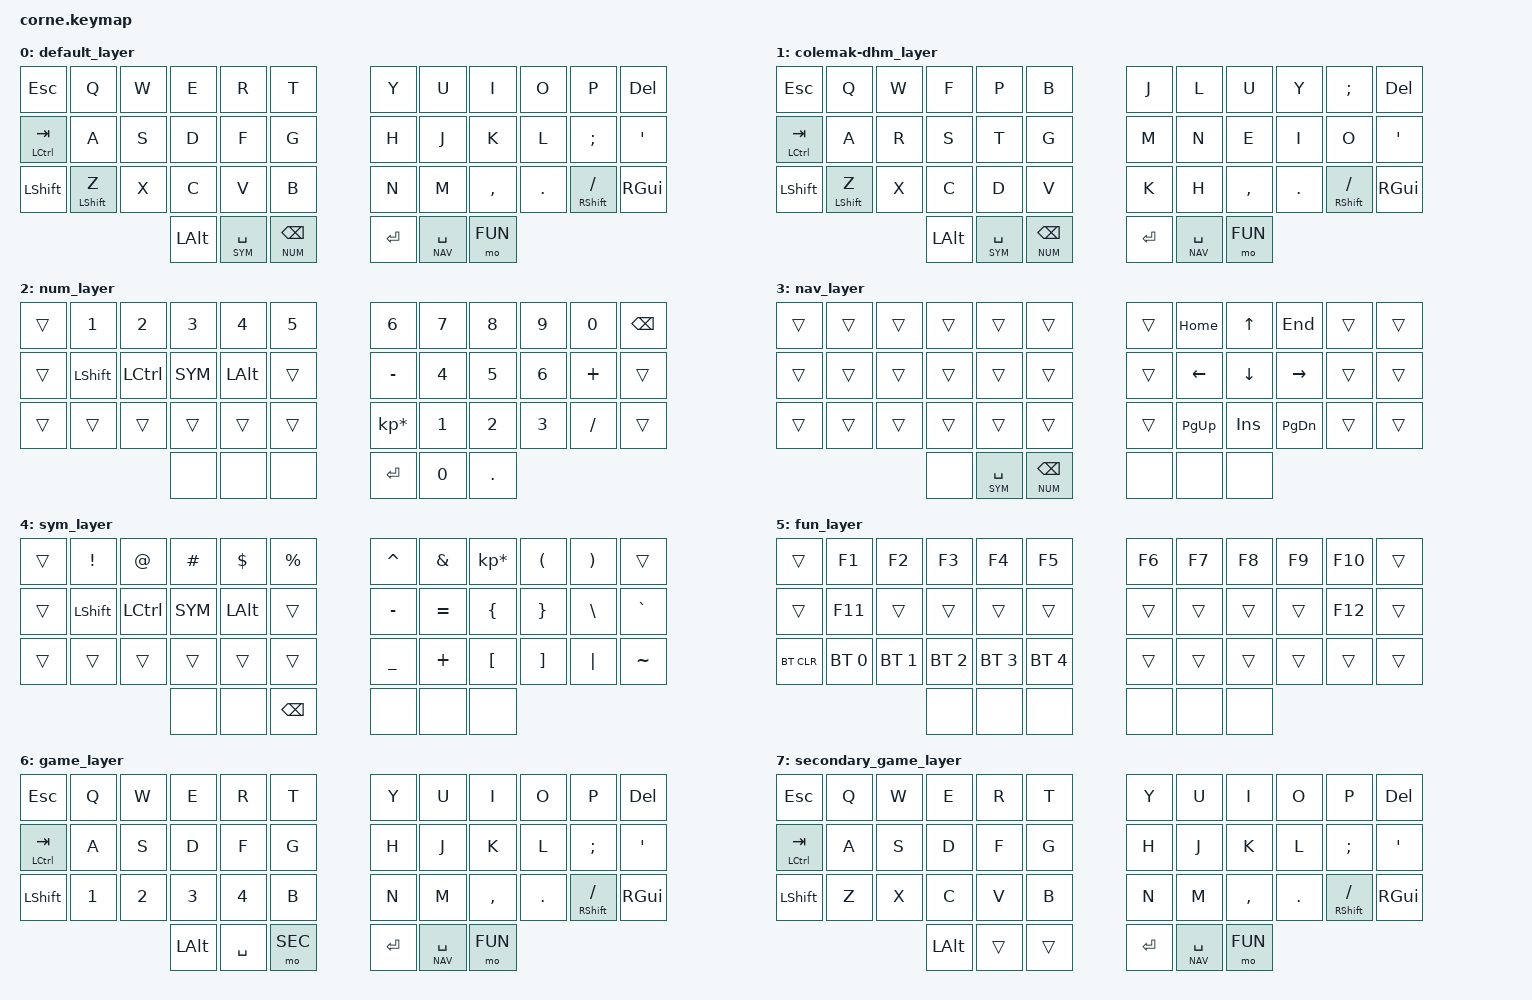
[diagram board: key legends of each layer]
/*
 * Copyright (c) 2020 The ZMK Contributors
 *
 * SPDX-License-Identifier: MIT
 */

#include <behaviors.dtsi>
#include <dt-bindings/zmk/keys.h>
#include <dt-bindings/zmk/bt.h>
#include <dt-bindings/zmk/mouse.h>

#define DEFAULT 0
#define COL   1
#define NUM   2
#define NAV   3
#define SYM   4
#define FUN   5
#define GME   6
#define SEC   7

&lt {
        quick-tap-ms = <200>;
};

/ {
    combos {
        compatible = "zmk,combos";
        combo_esc {
            timeout-ms = <50>;
            key-positions = <10 11>;
            bindings = <&tog COL>;
        };
        combo_game {
            timeout-ms = <50>;
            key-positions = <0 1>;
            bindings = <&tog GME>;
        };
    };
};


/ {
        keymap {
                compatible = "zmk,keymap";

                default_layer {
// -----------------------------------------------------------------------------------------
// |  ESC     |  Q  |  W  |  E  |  R  |  T  |   |  Y  |  U   |  I  |  O  |  P  | DEL  |
// | CTRL TAB |  A  |  S  |  D  |  F  |  G  |   |  H  |  J   |  K  |  L  |  ;  |  '   |
// | SHIFT    |  Z  |  X  |  C  |  V  |  B  |   |  N  |  M   |  ,  |  .  |  /  | WIN  |
//                    | ALT | SPC | BKSP |   | ENT | SPC  | FUN |
                        bindings = <
   &kp ESC       &kp Q         &kp W &kp E &kp R &kp T   &kp Y &kp U  &kp I     &kp O   &kp P     &kp DEL
   &mt LCTRL TAB &kp A         &kp S &kp D &kp F &kp G   &kp H &kp J  &kp K     &kp L   &kp SEMI  &kp SQT
   &kp LSHFT     &mt LSHFT Z   &kp X &kp C &kp V &kp B   &kp N &kp M  &kp COMMA &kp DOT &mt RSHFT FSLH &kp RGUI
                  &kp LALT &lt SYM SPACE &lt NUM BSPC    &kp RET &lt NAV SPACE &mo FUN
                        >;
                };

     colemak-dhm_layer {
// -----------------------------------------------------------------------------------------
// |  ESC     |  Q  |  W  |  F  |  P  |  B  |   |  J  |  L  |  U  |  Y  |  ;  | DEL  |
// | CTRL TAB |  A  |  R  |  S  |  T  |  G  |   |  M  |  N  |  E  |  I  |  O  |  '   |
// | SHIFT    |  Z  |  X  |  C  |  D  |  V  |   |  K  |  H  |  ,  |  .  |  /  | WIN  |
//                    | ALT | SPC | BKSP |   | ENT | SPC  | FUN |
                        bindings = <
   &kp ESC       &kp Q         &kp W &kp F &kp P &kp B   &kp J &kp L  &kp U     &kp Y   &kp SEMI  &kp DEL
   &mt LCTRL TAB &kp A         &kp R &kp S &kp T &kp G   &kp M &kp N  &kp E     &kp I   &kp O     &kp SQT
   &kp LSHFT     &mt LSHFT Z   &kp X &kp C &kp D &kp V   &kp K &kp H  &kp COMMA &kp DOT &mt RSHFT FSLH &kp RGUI
                  &kp LALT &lt SYM SPACE &lt NUM BSPC    &kp RET &lt NAV SPACE &mo FUN
                        >;
                };
                
                num_layer {
// -----------------------------------------------------------------------------------------
// |   |  1  |  2  |  3  |  4  |  5  |   |  6  |  7  |  8  |  9  |  0  | BKSP |
// |   |SHIFT| CTRL| WIN | ALT |     |   |  -  |  4  |  5  |  6  |  +  |      |
// |   |     |     |     |     |     |   |  *  |  1  |  2  |  3  |  /  |      |
//                 |     |     |     |   | ENT |  0  |  .  |
                        bindings = <
   &trans    &kp N1       &kp N2       &kp N3       &kp N4       &kp N5         &kp N6            &kp N7   &kp N8    &kp N9    &kp N0    &kp BSPC
   &trans    &kp LSHFT    &kp LCTRL    &kp SYM      &kp LALT     &trans         &kp MINUS         &kp N4   &kp N5    &kp N6    &kp PLUS  &trans
   &trans    &trans       &trans       &trans       &trans       &trans         &kp KP_MULTIPLY   &kp N1   &kp N2    &kp N3    &kp FSLH  &trans
                          	        &none     &none      &none         &kp RET           &kp N0   &kp DOT
                        >;
                };

                nav_layer {
// -----------------------------------------------------------------------------------------
// |   |     |     |     |     |     |   | |  HOME  |   UP   |    END  |   |   |
// |   |     |     |     |     |     |   | |  LEFT  |  DOWN  |  RIGHT  |   |   |
// |   |     |     |     |     |     |   | |  PGUP  |   INS  | PGDOWN  |   |   |
//               |    | MCR | MCL |   | |        |        |
                        bindings = <
   &trans  &trans  &trans  &trans  &trans  &trans       &trans  &kp HOME   &kp UP    &kp END    &trans  &trans
   &trans  &trans  &trans  &trans  &trans  &trans       &trans  &kp LEFT   &kp DOWN  &kp RIGHT  &trans  &trans
   &trans  &trans  &trans  &trans  &trans  &trans       &trans  &kp PG_UP  &kp INS   &kp PG_DN  &trans  &trans
                                   &none         &lt SYM SPACE &lt NUM BSPC   &none  &none     &none
                        >;
                };

                sym_layer {
// -----------------------------------------------------------------------------------------
// |   |  !  |  @  |  #  |  $  |  %  |   |  ^  |  &  |  *  |  (  |  )  |      |
// |   |SHIFT| CTRL| WIN | ALT |     |   |  -  |  =  |  {  |  }  |  \  |  `   |
// |   |     |     |     |     |     |   |  _  |  +  |  [  |  ]  | "|" |  ~   |
//                    |   |     |  BKSP |   |   |     |   |
                        bindings = <
   &trans  &kp EXCL  &kp AT    &kp HASH &kp DLLR  &kp PRCNT   &kp CARET &kp AMPS  &kp KP_MULTIPLY &kp LPAR &kp RPAR &trans
   &trans  &kp LSHFT &kp LCTRL &kp SYM  &kp LALT  &trans      &kp MINUS &kp EQUAL &kp LBRC        &kp RBRC &kp BSLH &kp GRAVE
   &trans  &trans    &trans    &trans   &trans    &trans      &kp UNDER &kp PLUS  &kp LBKT        &kp RBKT &kp PIPE &kp TILDE
                    	     &none    &none    &kp BKSP    &none    &none  &none
                        >;
                };


                fun_layer {
// -----------------------------------------------------------------------------------------
// |        |  F1  |  F2  |  F3  |  F4  |  F5  |   |  F6  |  F7  |  F8  |  F9  |  F10  |     |
// |        |  F11 |      |      |      |      |   |      |      |      |      | F12   |     |
// |  BTCLR |  BT1 | BT2  | BT3  | BT4  | BT5  |   |      |      |      |      |       |     |
//                 |     |     |     |   |  |    |    |
                        bindings = <
   &trans      &kp F1        &kp F2        &kp F3        &kp F4        &kp F5          &kp F6   &kp F7   &kp F8    &kp F9    &kp F10  &trans
   &trans      &kp F11       &trans        &trans        &trans        &trans          &trans   &trans   &trans    &trans    &kp F12  &trans
   &bt BT_CLR  &bt BT_SEL 0  &bt BT_SEL 1  &bt BT_SEL 2  &bt BT_SEL 3  &bt BT_SEL 4    &trans   &trans   &trans    &trans    &trans   &trans
                          	        &none      &none       &none         &none          &none   &none
                        >;
                };

           

                game_layer {
// -----------------------------------------------------------------------------------------
// |  ESC     |  Q  |  W  |  E  |  R  |  T  |   |  Y  |  U   |  I  |  O  |  P  | DEL  |
// | CTRL TAB |  A  |  S  |  D  |  F  |  G  |   |  H  |  J   |  K  |  L  |  ;  |  '   |
// | SHIFT    |  1  |  2  |  3  |  4  |  B  |   |  N  |  M   |  ,  |  .  |  /  | WIN  |
//                    | ALT | SPC | SPC |   | ENT | SPC  | FUN |
                        bindings = <
     &kp ESC       &kp Q   &kp W  &kp E  &kp R  &kp T    &kp Y &kp U  &kp I     &kp O   &kp P     &kp DEL
     &mt LCTRL TAB &kp A   &kp S  &kp D  &kp F  &kp G    &kp H &kp J  &kp K     &kp L   &kp SEMI  &kp SQT
     &kp LSHFT     &kp N1  &kp N2 &kp N3 &kp N4 &kp B    &kp N &kp M  &kp COMMA &kp DOT &mt RSHFT FSLH &kp RGUI
                  &kp LALT &kp SPACE &mo SEC    &kp RET &lt NAV SPACE &mo FUN
                        >;
                };

            secondary_game_layer {
// -----------------------------------------------------------------------------------------
// |  ESC     |  Q  |  W  |  E  |  R  |  T  |   |  Y  |  U   |  I  |  O  |  P  | DEL  |
// | CTRL TAB |  A  |  S  |  D  |  F  |  G  |   |  H  |  J   |  K  |  L  |  ;  |  '   |
// | SHIFT    |  Z  |  X  |  C  |  V  |  B  |   |  N  |  M   |  ,  |  .  |  /  | WIN  |
//                    | ALT | SPC | BKSP |   | ENT | SPC  | FUN |
                        bindings = <
     &kp ESC       &kp Q   &kp W &kp E &kp R &kp T &kp Y &kp U  &kp I     &kp O   &kp P     &kp DEL
     &mt LCTRL TAB &kp A   &kp S &kp D &kp F &kp G &kp H &kp J  &kp K     &kp L   &kp SEMI  &kp SQT
     &kp LSHFT     &kp Z   &kp X &kp C &kp V &kp B &kp N &kp M  &kp COMMA &kp DOT &mt RSHFT FSLH &kp RGUI
                  &kp LALT &trans &trans    &kp RET &lt NAV SPACE &mo FUN
                        >;
                };


        };
};
